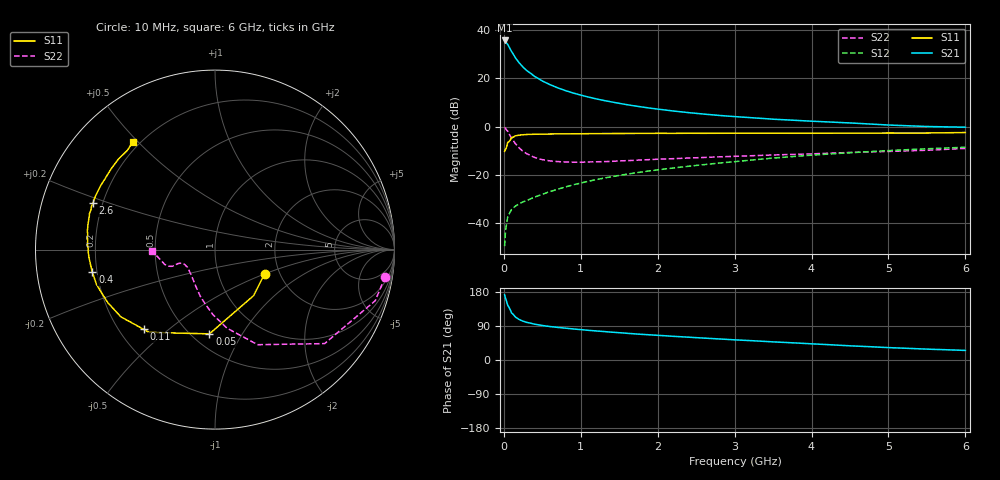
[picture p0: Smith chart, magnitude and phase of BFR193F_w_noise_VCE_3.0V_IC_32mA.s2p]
! Infineon Technologies  Discrete & RF Semiconductors
! BFR193F
! VCE =  3.0 V,  IC =  32 mA
! Common Emitter S-Parameters:  Jan 2017
# GHz  S  MA  R  50
!  f  S11  S21  S12  S22
! GHz  MAG  ANG  MAG  ANG  MAG  ANG  MAG  ANG
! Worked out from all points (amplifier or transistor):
!   77 points, 10 MHz to 6 GHz, reference 50 ohm
!   highest |S21| = 35.8 dB at 10 MHz (marker M1)
!   |S21| within 3 dB of that: start of sweep to 73.33 MHz
!   unconditionally stable (mu >= 1): 982 MHz to 2.694 GHz
!   at 130 MHz: K = 0.40, MSG = 31.6 dB, |S12| = -33.6 dB
!   at 2.2 GHz: K = 1.02, MAG = 11.0 dB, |S12| = -17.2 dB
!   at 6 GHz: K = 0.87, MSG = 4.2 dB, |S12| = -8.6 dB
!   lowest NFmin = 1.21 dB at 450 MHz
!   S11 on the Smith chart (normalised r, x): 10 MHz: 1.67, -0.50; 50 MHz: 0.61, -0.73; 110 MHz: 0.30, -0.41; 400 MHz: 0.18, -0.09; 2.6 GHz: 0.16, +0.18; 6 GHz: 0.17, +0.48
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0.01  0.3073 -25.9  61.55 172.2  0.0033 81.8  0.9604 -9.1
0.02  0.3347 -50.1  59.75 164.1  0.0062 77.9  0.937 -17.7
0.05  0.4705 -93.8  51.13 144.5  0.0131 63.5  0.8047 -40.6
0.1  0.5892 -128.5  36.34 124.2  0.019 51.8  0.5809 -65.8
0.11  0.5963 -131.9  34.38 122.5  0.0197 51.0  0.5506 -68.3
0.15  0.6445 -144.5  26.93 113.5  0.0224 48.5  0.4429 -81.3
0.2  0.6662 -153.6  21.06 106.8  0.0251 49.1  0.362 -91.9
0.25  0.6782 -159.9  17.17 102.4  0.0275 51.2  0.3056 -100.6
0.3  0.6883 -163.7  14.5 99.2  0.0293 53.1  0.2731 -107.4
0.4  0.695 -169.5  11.02 94.4  0.0344 56.7  0.2292 -118.2
0.5  0.6989 -173.4  8.883 91.1  0.0394 60.2  0.2063 -126.4
0.6  0.7032 -176.2  7.445 88.3  0.0449 62.0  0.1943 -133.0
0.7  0.7063 -178.8  6.402 86.0  0.0501 64.6  0.1883 -138.0
0.9  0.7117 177.5  5.001 82.0  0.0619 67.1  0.1829 -145.6
1.1  0.7146 174.4  4.111 78.3  0.0736 69.1  0.1851 -150.1
1.5  0.7209 169.4  3.046 72.1  0.0972 70.7  0.1944 -156.0
2.1  0.7266 163.2  2.213 63.9  0.1324 71.2  0.2135 -159.0
2.6  0.7275 159.0  1.822 57.8  0.1626 70.7  0.2289 -159.0
3.1  0.7295 154.6  1.578 52.2  0.1942 69.8  0.2451 -158.6
4.1  0.7294 145.7  1.276 41.7  0.2619 65.7  0.2759 -160.8
5.1  0.7372 135.7  1.065 31.9  0.3239 60.0  0.3091 -169.5
6  0.7552 127.2  0.974 25.3  0.3733 54.7  0.3531 -178.3
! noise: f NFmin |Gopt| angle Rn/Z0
0.45  1.21  0.4  177  0.06
0.9  1.3  0.43  177  0.07
1.9  1.86  0.58  -167  0.07
2.4  2.15  0.61  -158  0.12
